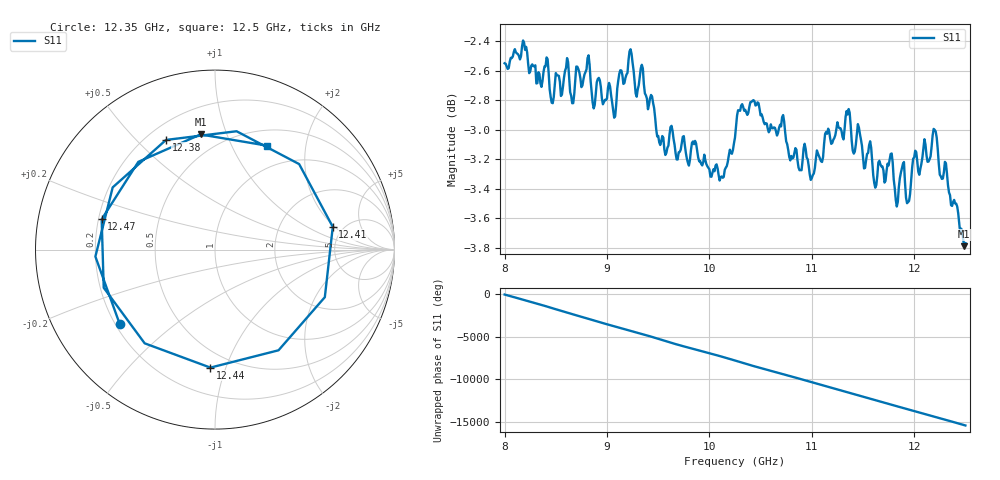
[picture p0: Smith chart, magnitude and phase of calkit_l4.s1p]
#  HZ  S  RI  R  50.00
! Rohde & Schwarz Vector Network Analyzer
! Rohde-Schwarz,ZNA43-4Port,1332450044101932,2.92
! Created: UTC 6/2/2026, 7:38:34 AM
! freq[Hz]  re:S11  im:S11
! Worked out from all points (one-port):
!   451 points, 8 GHz to 12.5 GHz, reference 50 ohm
!   lowest |S11| = -3.8 dB at 12.49 GHz (marker M1), VSWR 4.66, Z = 18.4 + j40.6 ohm
!   |S11| at or under -10 dB: nowhere
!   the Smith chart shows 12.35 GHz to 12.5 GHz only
!   S11 on the Smith chart (normalised r, x): 12.35 GHz: 0.22, -0.33; 12.38 GHz: 0.28, +0.61; 12.41 GHz: 4.12, +1.89; 12.44 GHz: 0.38, -0.89; 12.47 GHz: 0.21, +0.13; 12.5 GHz: 0.69, +1.38
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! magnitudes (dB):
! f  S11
! 8 GHz  -2.5
! 8.19 GHz  -2.4
! 8.46 GHz  -2.8
! 8.57 GHz  -2.7
! 8.81 GHz  -2.5
! 8.87 GHz  -2.9
! 9.07 GHz  -2.9
! 9.13 GHz  -2.6
! 9.23 GHz  -2.5
! 9.51 GHz  -3.1
! 9.69 GHz  -3.2
! 10.12 GHz  -3.3
! 10.25 GHz  -3.1
! 10.42 GHz  -2.8
! 10.82 GHz  -3.2
! 11 GHz  -3.3
! 11.15 GHz  -3.0
! 11.38 GHz  -3.0
! 11.94 GHz  -3.5
! 12 GHz  -3.2
! 12.2 GHz  -3.0
! 12.35 GHz  -3.4
! 12.38 GHz  -3.5
! 12.41 GHz  -3.5
! 12.44 GHz  -3.6
! 12.47 GHz  -3.7
! 12.49 GHz  -3.8
! 12.5 GHz  -3.8
